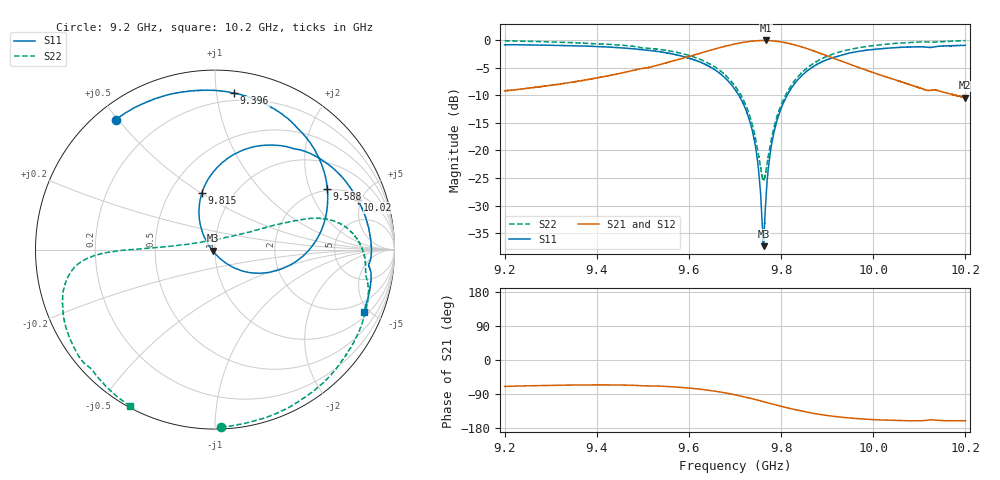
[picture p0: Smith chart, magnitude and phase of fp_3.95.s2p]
!Agilent Technologies,N5242A,MY51221714,A.09.90.19
!Agilent N5242A: A.09.90.19
!Date: Saturday, March 16, 2024 08:59:52
!Correction: S11(Full 2 Port(1,2))
!S21(Full 2 Port(1,2))
!S12(Full 2 Port(1,2))
!S22(Full 2 Port(1,2))
!S2P File: Measurements: S11, S21, S12, S22:
# Hz S  dB  R 50
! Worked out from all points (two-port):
!   16001 points, 9.2 GHz to 10.2 GHz, reference 50 ohm
!   highest |S21| = -0.04 dB at 9.766 GHz (marker M1); lowest = -10.4 dB at 10.2 GHz (marker M2)
!   |S21| within 3 dB of the highest: 9.596 GHz to 9.907 GHz (310.7 MHz wide, 3.19 % of centre)
!   lowest |S11| = -37.4 dB at 9.762 GHz (marker M3), VSWR 1.03, Z = 48.8 - j0.657 ohm
!   |S11| at or under -10 dB: 9.708 GHz to 9.813 GHz (104.5 MHz wide, 1.07 % of centre)
!   |S22| runs from -25.3 to -0.1 dB; largest |S21 - S12| = 0.012
!   S11 on the Smith chart (normalised r, x): 9.2 GHz: 0.06, +0.49; 9.396 GHz: 0.15, +1.12; 9.588 GHz: 1.95, +2.65; 9.815 GHz: 0.71, +0.51; 10.02 GHz: 2.44, +4.66; 10.2 GHz: 1.30, -4.66
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9.2e9  -0.83 127.4  -9.19 -69.8  -9.18 -70.3  -0.09 -88.1
9.279688e9  -0.88 109.9  -8.40 -67.5  -8.40 -67.9  -0.25 -65.6
9.366688e9  -1.05 90.1  -7.34 -66.0  -7.33 -66.5  -0.52 -41.9
9.395938e9  -1.13 83.0  -6.91 -65.7  -6.90 -66.3  -0.63 -34.2
9.533375e9  -2.05 46.1  -4.50 -68.8  -4.49 -69.3  -1.63 -1.2
9.588062e9  -2.97 28.4  -3.24 -72.8  -3.23 -73.3  -2.47 8.7
9.645125e9  -4.81 6.5  -1.86 -80.4  -1.86 -80.8  -4.30 16.6
9.7e9  -8.94 -19.2  -0.68 -91.8  -0.65 -92.3  -8.32 21.7
9.73975e9  -17.25 -44.5  -0.14 -103.0  -0.13 -103.5  -16.00 31.9
9.749625e9  -22.35 -55.0  -0.08 -106.0  -0.07 -106.6  -20.07 45.0
9.758562e9  -32.68 -85.9  -0.05 -108.9  -0.05 -109.5  -24.63 78.8
9.762e9  -37.37 -150.2  -0.06 -110.0  -0.05 -110.5  -25.11 100.2
9.76625e9  -29.77 152.3  -0.04 -111.3  -0.05 -111.9  -24.15 127.7
9.77275e9  -22.90 134.8  -0.07 -113.5  -0.06 -114.0  -20.88 153.0
9.781812e9  -17.85 124.5  -0.12 -116.3  -0.12 -116.9  -16.83 167.9
9.8145e9  -9.75 102.9  -0.53 -126.6  -0.55 -127.0  -9.21 178.4
9.866688e9  -4.96 75.7  -1.82 -140.2  -1.81 -140.6  -4.42 -178.5
9.93575e9  -2.59 47.4  -3.94 -151.5  -3.94 -152.0  -1.94 -172.1
1.002431e10  -1.50 19.3  -6.57 -158.6  -6.56 -159.1  -0.76 -157.5
1.003338e10  -1.44 16.7  -6.82 -158.9  -6.80 -159.4  -0.68 -155.8
1.019944e10  -0.94 -22.4  -10.43 -160.2  -10.40 -160.8  -0.08 -118.7
1.02e10  -0.93 -22.6  -10.43 -160.3  -10.43 -160.7  -0.08 -118.5
